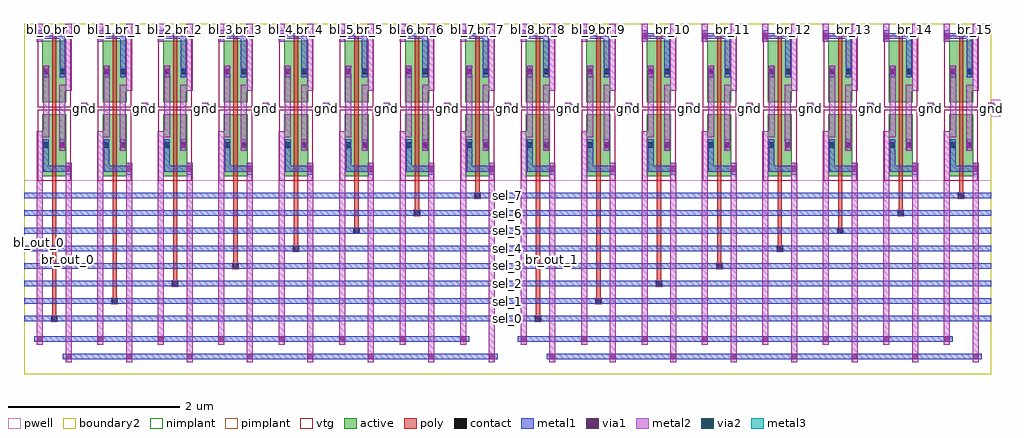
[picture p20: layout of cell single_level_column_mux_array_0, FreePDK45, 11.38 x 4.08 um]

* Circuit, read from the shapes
.subckt single_level_column_mux_array_0 bl_0 bl_1 bl_10 bl_11 bl_12 bl_13 bl_14 bl_15 bl_2 bl_3 bl_4 bl_5 bl_6 bl_7 bl_8 bl_9 bl_out_0 bl_out_1 br_0 br_1 br_10 br_11 br_12 br_13 br_14 br_15 br_2 br_3 br_4 br_5 br_6 br_7 br_8 br_9 br_out_0 br_out_1 gnd sel_0 sel_1 sel_2 sel_3 sel_4 sel_5 sel_6 sel_7
M1 br_0 sel_0 br_out_0 gnd nfet w=0.72u l=0.05u
M2 bl_0 sel_0 bl_out_0 gnd nfet w=0.72u l=0.05u
M3 br_1 sel_1 br_out_0 gnd nfet w=0.72u l=0.05u
M4 bl_1 sel_1 bl_out_0 gnd nfet w=0.72u l=0.05u
M5 br_2 sel_2 br_out_0 gnd nfet w=0.72u l=0.05u
M6 bl_2 sel_2 bl_out_0 gnd nfet w=0.72u l=0.05u
M7 br_3 sel_3 br_out_0 gnd nfet w=0.72u l=0.05u
M8 bl_3 sel_3 bl_out_0 gnd nfet w=0.72u l=0.05u
M9 br_4 sel_4 br_out_0 gnd nfet w=0.72u l=0.05u
M10 bl_4 sel_4 bl_out_0 gnd nfet w=0.72u l=0.05u
M11 br_5 sel_5 br_out_0 gnd nfet w=0.72u l=0.05u
M12 bl_5 sel_5 bl_out_0 gnd nfet w=0.72u l=0.05u
M13 br_6 sel_6 br_out_0 gnd nfet w=0.72u l=0.05u
M14 bl_6 sel_6 bl_out_0 gnd nfet w=0.72u l=0.05u
M15 br_7 sel_7 br_out_0 gnd nfet w=0.72u l=0.05u
M16 bl_7 sel_7 bl_out_0 gnd nfet w=0.72u l=0.05u
M17 br_8 sel_0 br_out_1 gnd nfet w=0.72u l=0.05u
M18 bl_8 sel_0 bl_out_1 gnd nfet w=0.72u l=0.05u
M19 br_9 sel_1 br_out_1 gnd nfet w=0.72u l=0.05u
M20 bl_9 sel_1 bl_out_1 gnd nfet w=0.72u l=0.05u
M21 br_10 sel_2 br_out_1 gnd nfet w=0.72u l=0.05u
M22 bl_10 sel_2 bl_out_1 gnd nfet w=0.72u l=0.05u
M23 br_11 sel_3 br_out_1 gnd nfet w=0.72u l=0.05u
M24 bl_11 sel_3 bl_out_1 gnd nfet w=0.72u l=0.05u
M25 br_12 sel_4 br_out_1 gnd nfet w=0.72u l=0.05u
M26 bl_12 sel_4 bl_out_1 gnd nfet w=0.72u l=0.05u
M27 br_13 sel_5 br_out_1 gnd nfet w=0.72u l=0.05u
M28 bl_13 sel_5 bl_out_1 gnd nfet w=0.72u l=0.05u
M29 br_14 sel_6 br_out_1 gnd nfet w=0.72u l=0.05u
M30 bl_14 sel_6 bl_out_1 gnd nfet w=0.72u l=0.05u
M31 br_15 sel_7 br_out_1 gnd nfet w=0.72u l=0.05u
M32 bl_15 sel_7 bl_out_1 gnd nfet w=0.72u l=0.05u
.ends

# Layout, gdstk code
import gdstk
lib = gdstk.Library(unit=1e-6, precision=5e-10)
def R(c, l, rs):  # rectangles x0, y0, x1, y1
    for r in rs: c.add(gdstk.rectangle(r[:2], r[2:], *l))
def A(c, l, x, y, w, h, nx, ny, dx, dy):  # array of equal rectangles
    R(c, l, [(x+i*dx, y+j*dy, x+i*dx+w, y+j*dy+h) for i in range(nx) for j in range(ny)])
active = (1, 0)
pwell = (2, 0)
nimplant = (4, 0)
pimplant = (5, 0)
vtg = (6, 0)
poly = (9, 0)
contact = (10, 0)
metal1 = (11, 0)
via1 = (12, 0)
metal2 = (13, 0)
via2 = (14, 0)
metal3 = (15, 0)
boundary2 = (239, 0)

contact_14 = lib.new_cell('contact_14')
R(contact_14, active, [(0,0.0225,0.09,0.1125)])
R(contact_14, pwell, [(-0.055,-0.0325,0.145,0.1675)])
R(contact_14, nimplant, [(0,0.0225,0.09,0.1125)])
R(contact_14, contact, [(0.0125,0.035,0.0775,0.1)])
R(contact_14, metal1, [(0.0125,0,0.0775,0.135)])

nmos_m1_w0_720 = lib.new_cell('nmos_m1_w0_720')
R(nmos_m1_w0_720, active, [(0,0,0.28,0.72)])
R(nmos_m1_w0_720, pwell, [(-0.055,-0.055,0.335,0.775)])
R(nmos_m1_w0_720, nimplant, [(0,0,0.28,0.72)])
R(nmos_m1_w0_720, vtg, [(-0.055,-0.055,0.335,0.775)])
R(nmos_m1_w0_720, poly, [(0.115,-0.055,0.165,0.775), (0.115,-0.055,0.165,0.775)])
R(nmos_m1_w0_720, metal1, [(0.0125,0.2925,0.0775,0.4275), (0.2025,0.2925,0.2675,0.4275)])
nmos_m1_w0_720.add(gdstk.Reference(contact_14, (0,0.2925)))
nmos_m1_w0_720.add(gdstk.Reference(contact_14, (0.19,0.2925)))
nmos_m1_w0_720.add(gdstk.Label('G', (0.14,0.36), layer=9, texttype=0))
nmos_m1_w0_720.add(gdstk.Label('S', (0.045,0.36), layer=11, texttype=0))
nmos_m1_w0_720.add(gdstk.Label('D', (0.235,0.36), layer=11, texttype=0))

contact_12 = lib.new_cell('contact_12')
R(contact_12, metal1, [(0.0025,0,0.0675,0.135)])
R(contact_12, via1, [(0.0025,0.035,0.0675,0.1)])
R(contact_12, metal2, [(0,0,0.07,0.135)])

contact_15 = lib.new_cell('contact_15')
R(contact_15, active, [(0.0225,0,0.1125,0.09)])
R(contact_15, pwell, [(-0.0325,-0.055,0.1675,0.145)])
R(contact_15, pimplant, [(0.0225,0,0.1125,0.09)])
R(contact_15, contact, [(0.035,0.0125,0.1,0.0775)])
R(contact_15, metal1, [(0,0.0125,0.135,0.0775)])

contact_16 = lib.new_cell('contact_16')
R(contact_16, metal1, [(0,0.035,0.135,0.1)])
R(contact_16, via1, [(0.035,0.035,0.1,0.1)])
R(contact_16, metal2, [(0.0325,0,0.1025,0.135)])

contact_7 = lib.new_cell('contact_7')
R(contact_7, metal2, [(0.0325,0,0.1025,0.135)])
R(contact_7, via2, [(0.035,0.035,0.1,0.1)])
R(contact_7, metal3, [(0,0.0325,0.135,0.1025)])

single_level_column_mux_ = lib.new_cell('single_level_column_mux_0')
R(single_level_column_mux_, pwell, [(0,0,0.705,1.83)])
R(single_level_column_mux_, poly, [(0.3275,0,0.3775,1.69)])
R(single_level_column_mux_, metal1, [(0.225,0.1075,0.29,0.1725), (0.2575,0.1075,0.52,0.1725), (0.225,0.14,0.29,0.415), (0.415,1.275,0.48,1.69), (0.15,1.6575,0.4475,1.7225), (0.415,1.6575,0.48,1.7225)])
R(single_level_column_mux_, metal2, [(0.15,0,0.22,0.14), (0.485,0,0.555,0.14), (0.15,0.14,0.22,0.54), (0.4125,0.4825,0.4825,1.085), (0.15,0.505,0.22,0.575), (0.185,0.505,0.2575,0.575), (0.2225,0.505,0.2925,0.575), (0.2225,0.54,0.2925,1.2075), (0.4125,1.05,0.4825,1.12), (0.4475,1.05,0.52,1.12), (0.485,1.05,0.555,1.12), (0.485,1.085,0.555,1.69), (0.15,1.69,0.22,1.83), (0.485,1.69,0.555,1.83)])
R(single_level_column_mux_, metal3, [(0.67,0.81,0.74,0.88)])
R(single_level_column_mux_, boundary2, [(0,0,0.705,1.83)])
single_level_column_mux_.add(gdstk.Reference(nmos_m1_w0_720, (0.2125,0.055)))
single_level_column_mux_.add(gdstk.Reference(nmos_m1_w0_720, (0.2125,0.915)))
single_level_column_mux_.add(gdstk.Reference(contact_12, (0.15,1.6225)))
single_level_column_mux_.add(gdstk.Reference(contact_12, (0.485,0.0725)))
single_level_column_mux_.add(gdstk.Reference(contact_12, (0.2225,1.2075)))
single_level_column_mux_.add(gdstk.Reference(contact_12, (0.4125,0.3475)))
single_level_column_mux_.add(gdstk.Reference(contact_15, (0.6375,0.8)))
single_level_column_mux_.add(gdstk.Reference(contact_16, (0.6375,0.7775)))
single_level_column_mux_.add(gdstk.Reference(contact_7, (0.6375,0.7775)))
single_level_column_mux_.add(gdstk.Label('sel', (0.3525,0.845), layer=9, texttype=0))
single_level_column_mux_.add(gdstk.Label('bl', (0.185,1.76), layer=13, texttype=0))
single_level_column_mux_.add(gdstk.Label('br', (0.52,1.76), layer=13, texttype=0))
single_level_column_mux_.add(gdstk.Label('bl_out', (0.185,0.07), layer=13, texttype=0))
single_level_column_mux_.add(gdstk.Label('br_out', (0.52,0.07), layer=13, texttype=0))
single_level_column_mux_.add(gdstk.Label('gnd', (0.705,0.845), layer=15, texttype=0))

contact_17 = lib.new_cell('contact_17')
R(contact_17, poly, [(0.03,0,0.105,0.075)])
R(contact_17, contact, [(0.035,0.005,0.1,0.07)])
R(contact_17, metal1, [(0,0.005,0.135,0.07)])

c_single_level_column_mux_ = lib.new_cell('single_level_column_mux_array_0')
R(c_single_level_column_mux_, pwell, [(0,2.255,11.28,4.085)])
R(c_single_level_column_mux_, poly, [(0.3275,0.6475,0.3775,2.255), (5.9675,0.6475,6.0175,2.255), (1.0325,0.8525,1.0825,2.255), (6.6725,0.8525,6.7225,2.255), (1.7375,1.0575,1.7875,2.255), (7.3775,1.0575,7.4275,2.255), (2.4425,1.2625,2.4925,2.255), (8.0825,1.2625,8.1325,2.255), (3.1475,1.4675,3.1975,2.255), (8.7875,1.4675,8.8375,2.255), (3.8525,1.6725,3.9025,2.255), (9.4925,1.6725,9.5425,2.255), (4.5575,1.8775,4.6075,2.255), (10.1975,1.8775,10.2475,2.255), (5.2625,2.0825,5.3125,2.255), (10.9025,2.0825,10.9525,2.255)])
A(c_single_level_column_mux_, metal1, 0, 0.615, 11.28, 0.065, 1, 8, 0, 0.205)
R(c_single_level_column_mux_, metal1, [(0.52,0.1725,5.525,0.2375), (6.16,0.1725,11.165,0.2375), (0.185,0.3775,5.19,0.4425), (5.825,0.3775,10.83,0.4425)])
A(c_single_level_column_mux_, metal2, 0.485, 0.205, 0.07, 2.255, 16, 1, 0.705, 0)
A(c_single_level_column_mux_, metal2, 0.15, 0.41, 0.07, 2.255, 16, 1, 0.705, 0)
R(c_single_level_column_mux_, metal2, [(0.15,3.945,0.22,4.085), (0.485,3.945,0.555,4.085), (0.855,3.945,0.925,4.085), (1.19,3.945,1.26,4.085), (1.56,3.945,1.63,4.085), (1.895,3.945,1.965,4.085), (2.265,3.945,2.335,4.085), (2.6,3.945,2.67,4.085), (2.97,3.945,3.04,4.085), (3.305,3.945,3.375,4.085), (3.675,3.945,3.745,4.085), (4.01,3.945,4.08,4.085), (4.38,3.945,4.45,4.085), (4.715,3.945,4.785,4.085), (5.085,3.945,5.155,4.085), (5.42,3.945,5.49,4.085), (5.79,3.945,5.86,4.085), (6.125,3.945,6.195,4.085), (6.495,3.945,6.565,4.085), (6.83,3.945,6.9,4.085), (7.2,3.945,7.27,4.085), (7.535,3.945,7.605,4.085), (7.905,3.945,7.975,4.085), (8.24,3.945,8.31,4.085), (8.61,3.945,8.68,4.085), (8.945,3.945,9.015,4.085), (9.315,3.945,9.385,4.085), (9.65,3.945,9.72,4.085), (10.02,3.945,10.09,4.085), (10.355,3.945,10.425,4.085), (10.725,3.945,10.795,4.085), (11.06,3.945,11.13,4.085)])
A(c_single_level_column_mux_, metal3, 0.67, 3.065, 0.07, 0.07, 16, 1, 0.705, 0)
R(c_single_level_column_mux_, boundary2, [(0,0,11.28,4.085)])
c_single_level_column_mux_.add(gdstk.Reference(single_level_column_mux_, (0,2.255)))
c_single_level_column_mux_.add(gdstk.Reference(single_level_column_mux_, (0.705,2.255)))
c_single_level_column_mux_.add(gdstk.Reference(single_level_column_mux_, (1.41,2.255)))
c_single_level_column_mux_.add(gdstk.Reference(single_level_column_mux_, (2.115,2.255)))
c_single_level_column_mux_.add(gdstk.Reference(single_level_column_mux_, (2.82,2.255)))
c_single_level_column_mux_.add(gdstk.Reference(single_level_column_mux_, (3.525,2.255)))
c_single_level_column_mux_.add(gdstk.Reference(single_level_column_mux_, (4.23,2.255)))
c_single_level_column_mux_.add(gdstk.Reference(single_level_column_mux_, (4.935,2.255)))
c_single_level_column_mux_.add(gdstk.Reference(single_level_column_mux_, (5.64,2.255)))
c_single_level_column_mux_.add(gdstk.Reference(single_level_column_mux_, (6.345,2.255)))
c_single_level_column_mux_.add(gdstk.Reference(single_level_column_mux_, (7.05,2.255)))
c_single_level_column_mux_.add(gdstk.Reference(single_level_column_mux_, (7.755,2.255)))
c_single_level_column_mux_.add(gdstk.Reference(single_level_column_mux_, (8.46,2.255)))
c_single_level_column_mux_.add(gdstk.Reference(single_level_column_mux_, (9.165,2.255)))
c_single_level_column_mux_.add(gdstk.Reference(single_level_column_mux_, (9.87,2.255)))
c_single_level_column_mux_.add(gdstk.Reference(single_level_column_mux_, (10.575,2.255)))
c_single_level_column_mux_.add(gdstk.Reference(contact_17, (0.285,0.61)))
c_single_level_column_mux_.add(gdstk.Reference(contact_17, (0.99,0.815)))
c_single_level_column_mux_.add(gdstk.Reference(contact_17, (1.695,1.02)))
c_single_level_column_mux_.add(gdstk.Reference(contact_17, (2.4,1.225)))
c_single_level_column_mux_.add(gdstk.Reference(contact_17, (3.105,1.43)))
c_single_level_column_mux_.add(gdstk.Reference(contact_17, (3.81,1.635)))
c_single_level_column_mux_.add(gdstk.Reference(contact_17, (4.515,1.84)))
c_single_level_column_mux_.add(gdstk.Reference(contact_17, (5.22,2.045)))
c_single_level_column_mux_.add(gdstk.Reference(contact_17, (5.925,0.61)))
c_single_level_column_mux_.add(gdstk.Reference(contact_17, (6.63,0.815)))
c_single_level_column_mux_.add(gdstk.Reference(contact_17, (7.335,1.02)))
c_single_level_column_mux_.add(gdstk.Reference(contact_17, (8.04,1.225)))
c_single_level_column_mux_.add(gdstk.Reference(contact_17, (8.745,1.43)))
c_single_level_column_mux_.add(gdstk.Reference(contact_17, (9.45,1.635)))
c_single_level_column_mux_.add(gdstk.Reference(contact_17, (10.155,1.84)))
c_single_level_column_mux_.add(gdstk.Reference(contact_17, (10.86,2.045)))
c_single_level_column_mux_.add(gdstk.Reference(contact_16, (0.1175,0.3425)))
c_single_level_column_mux_.add(gdstk.Reference(contact_16, (0.4525,0.1375)))
c_single_level_column_mux_.add(gdstk.Reference(contact_16, (0.8225,0.3425)))
c_single_level_column_mux_.add(gdstk.Reference(contact_16, (1.1575,0.1375)))
c_single_level_column_mux_.add(gdstk.Reference(contact_16, (1.5275,0.3425)))
c_single_level_column_mux_.add(gdstk.Reference(contact_16, (1.8625,0.1375)))
c_single_level_column_mux_.add(gdstk.Reference(contact_16, (2.2325,0.3425)))
c_single_level_column_mux_.add(gdstk.Reference(contact_16, (2.5675,0.1375)))
c_single_level_column_mux_.add(gdstk.Reference(contact_16, (2.9375,0.3425)))
c_single_level_column_mux_.add(gdstk.Reference(contact_16, (3.2725,0.1375)))
c_single_level_column_mux_.add(gdstk.Reference(contact_16, (3.6425,0.3425)))
c_single_level_column_mux_.add(gdstk.Reference(contact_16, (3.9775,0.1375)))
c_single_level_column_mux_.add(gdstk.Reference(contact_16, (4.3475,0.3425)))
c_single_level_column_mux_.add(gdstk.Reference(contact_16, (4.6825,0.1375)))
c_single_level_column_mux_.add(gdstk.Reference(contact_16, (5.0525,0.3425)))
c_single_level_column_mux_.add(gdstk.Reference(contact_16, (5.3875,0.1375)))
c_single_level_column_mux_.add(gdstk.Reference(contact_16, (5.7575,0.3425)))
c_single_level_column_mux_.add(gdstk.Reference(contact_16, (6.0925,0.1375)))
c_single_level_column_mux_.add(gdstk.Reference(contact_16, (6.4625,0.3425)))
c_single_level_column_mux_.add(gdstk.Reference(contact_16, (6.7975,0.1375)))
c_single_level_column_mux_.add(gdstk.Reference(contact_16, (7.1675,0.3425)))
c_single_level_column_mux_.add(gdstk.Reference(contact_16, (7.5025,0.1375)))
c_single_level_column_mux_.add(gdstk.Reference(contact_16, (7.8725,0.3425)))
c_single_level_column_mux_.add(gdstk.Reference(contact_16, (8.2075,0.1375)))
c_single_level_column_mux_.add(gdstk.Reference(contact_16, (8.5775,0.3425)))
c_single_level_column_mux_.add(gdstk.Reference(contact_16, (8.9125,0.1375)))
c_single_level_column_mux_.add(gdstk.Reference(contact_16, (9.2825,0.3425)))
c_single_level_column_mux_.add(gdstk.Reference(contact_16, (9.6175,0.1375)))
c_single_level_column_mux_.add(gdstk.Reference(contact_16, (9.9875,0.3425)))
c_single_level_column_mux_.add(gdstk.Reference(contact_16, (10.3225,0.1375)))
c_single_level_column_mux_.add(gdstk.Reference(contact_16, (10.6925,0.3425)))
c_single_level_column_mux_.add(gdstk.Reference(contact_16, (11.0275,0.1375)))
c_single_level_column_mux_.add(gdstk.Label('sel_0', (5.64,0.6475), layer=11, texttype=0))
c_single_level_column_mux_.add(gdstk.Label('sel_1', (5.64,0.8525), layer=11, texttype=0))
c_single_level_column_mux_.add(gdstk.Label('sel_2', (5.64,1.0575), layer=11, texttype=0))
c_single_level_column_mux_.add(gdstk.Label('sel_3', (5.64,1.2625), layer=11, texttype=0))
c_single_level_column_mux_.add(gdstk.Label('sel_4', (5.64,1.4675), layer=11, texttype=0))
c_single_level_column_mux_.add(gdstk.Label('sel_5', (5.64,1.6725), layer=11, texttype=0))
c_single_level_column_mux_.add(gdstk.Label('sel_6', (5.64,1.8775), layer=11, texttype=0))
c_single_level_column_mux_.add(gdstk.Label('sel_7', (5.64,2.0825), layer=11, texttype=0))
c_single_level_column_mux_.add(gdstk.Label('bl_out_0', (0.185,1.5375), layer=13, texttype=0))
c_single_level_column_mux_.add(gdstk.Label('br_out_0', (0.52,1.3325), layer=13, texttype=0))
c_single_level_column_mux_.add(gdstk.Label('bl_out_1', (5.825,1.5375), layer=13, texttype=0))
c_single_level_column_mux_.add(gdstk.Label('br_out_1', (6.16,1.3325), layer=13, texttype=0))
c_single_level_column_mux_.add(gdstk.Label('bl_0', (0.185,4.015), layer=13, texttype=0))
c_single_level_column_mux_.add(gdstk.Label('br_0', (0.52,4.015), layer=13, texttype=0))
c_single_level_column_mux_.add(gdstk.Label('bl_1', (0.89,4.015), layer=13, texttype=0))
c_single_level_column_mux_.add(gdstk.Label('br_1', (1.225,4.015), layer=13, texttype=0))
c_single_level_column_mux_.add(gdstk.Label('bl_2', (1.595,4.015), layer=13, texttype=0))
c_single_level_column_mux_.add(gdstk.Label('br_2', (1.93,4.015), layer=13, texttype=0))
c_single_level_column_mux_.add(gdstk.Label('bl_3', (2.3,4.015), layer=13, texttype=0))
c_single_level_column_mux_.add(gdstk.Label('br_3', (2.635,4.015), layer=13, texttype=0))
c_single_level_column_mux_.add(gdstk.Label('bl_4', (3.005,4.015), layer=13, texttype=0))
c_single_level_column_mux_.add(gdstk.Label('br_4', (3.34,4.015), layer=13, texttype=0))
c_single_level_column_mux_.add(gdstk.Label('bl_5', (3.71,4.015), layer=13, texttype=0))
c_single_level_column_mux_.add(gdstk.Label('br_5', (4.045,4.015), layer=13, texttype=0))
c_single_level_column_mux_.add(gdstk.Label('bl_6', (4.415,4.015), layer=13, texttype=0))
c_single_level_column_mux_.add(gdstk.Label('br_6', (4.75,4.015), layer=13, texttype=0))
c_single_level_column_mux_.add(gdstk.Label('bl_7', (5.12,4.015), layer=13, texttype=0))
c_single_level_column_mux_.add(gdstk.Label('br_7', (5.455,4.015), layer=13, texttype=0))
c_single_level_column_mux_.add(gdstk.Label('bl_8', (5.825,4.015), layer=13, texttype=0))
c_single_level_column_mux_.add(gdstk.Label('br_8', (6.16,4.015), layer=13, texttype=0))
c_single_level_column_mux_.add(gdstk.Label('bl_9', (6.53,4.015), layer=13, texttype=0))
c_single_level_column_mux_.add(gdstk.Label('br_9', (6.865,4.015), layer=13, texttype=0))
c_single_level_column_mux_.add(gdstk.Label('bl_10', (7.235,4.015), layer=13, texttype=0))
c_single_level_column_mux_.add(gdstk.Label('br_10', (7.57,4.015), layer=13, texttype=0))
c_single_level_column_mux_.add(gdstk.Label('bl_11', (7.94,4.015), layer=13, texttype=0))
c_single_level_column_mux_.add(gdstk.Label('br_11', (8.275,4.015), layer=13, texttype=0))
c_single_level_column_mux_.add(gdstk.Label('bl_12', (8.645,4.015), layer=13, texttype=0))
c_single_level_column_mux_.add(gdstk.Label('br_12', (8.98,4.015), layer=13, texttype=0))
c_single_level_column_mux_.add(gdstk.Label('bl_13', (9.35,4.015), layer=13, texttype=0))
c_single_level_column_mux_.add(gdstk.Label('br_13', (9.685,4.015), layer=13, texttype=0))
c_single_level_column_mux_.add(gdstk.Label('bl_14', (10.055,4.015), layer=13, texttype=0))
c_single_level_column_mux_.add(gdstk.Label('br_14', (10.39,4.015), layer=13, texttype=0))
c_single_level_column_mux_.add(gdstk.Label('bl_15', (10.76,4.015), layer=13, texttype=0))
c_single_level_column_mux_.add(gdstk.Label('br_15', (11.095,4.015), layer=13, texttype=0))
c_single_level_column_mux_.add(gdstk.Label('gnd', (3.525,3.1), layer=15, texttype=0))
c_single_level_column_mux_.add(gdstk.Label('gnd', (5.64,3.1), layer=15, texttype=0))
c_single_level_column_mux_.add(gdstk.Label('gnd', (10.575,3.1), layer=15, texttype=0))
c_single_level_column_mux_.add(gdstk.Label('gnd', (0.705,3.1), layer=15, texttype=0))
c_single_level_column_mux_.add(gdstk.Label('gnd', (8.46,3.1), layer=15, texttype=0))
c_single_level_column_mux_.add(gdstk.Label('gnd', (1.41,3.1), layer=15, texttype=0))
c_single_level_column_mux_.add(gdstk.Label('gnd', (4.23,3.1), layer=15, texttype=0))
c_single_level_column_mux_.add(gdstk.Label('gnd', (7.05,3.1), layer=15, texttype=0))
c_single_level_column_mux_.add(gdstk.Label('gnd', (7.755,3.1), layer=15, texttype=0))
c_single_level_column_mux_.add(gdstk.Label('gnd', (6.345,3.1), layer=15, texttype=0))
c_single_level_column_mux_.add(gdstk.Label('gnd', (2.115,3.1), layer=15, texttype=0))
c_single_level_column_mux_.add(gdstk.Label('gnd', (11.28,3.1), layer=15, texttype=0))
c_single_level_column_mux_.add(gdstk.Label('gnd', (9.87,3.1), layer=15, texttype=0))
c_single_level_column_mux_.add(gdstk.Label('gnd', (9.165,3.1), layer=15, texttype=0))
c_single_level_column_mux_.add(gdstk.Label('gnd', (4.935,3.1), layer=15, texttype=0))
c_single_level_column_mux_.add(gdstk.Label('gnd', (2.82,3.1), layer=15, texttype=0))

lib.write_gds('single_level_column_mux_array_0.gds')
